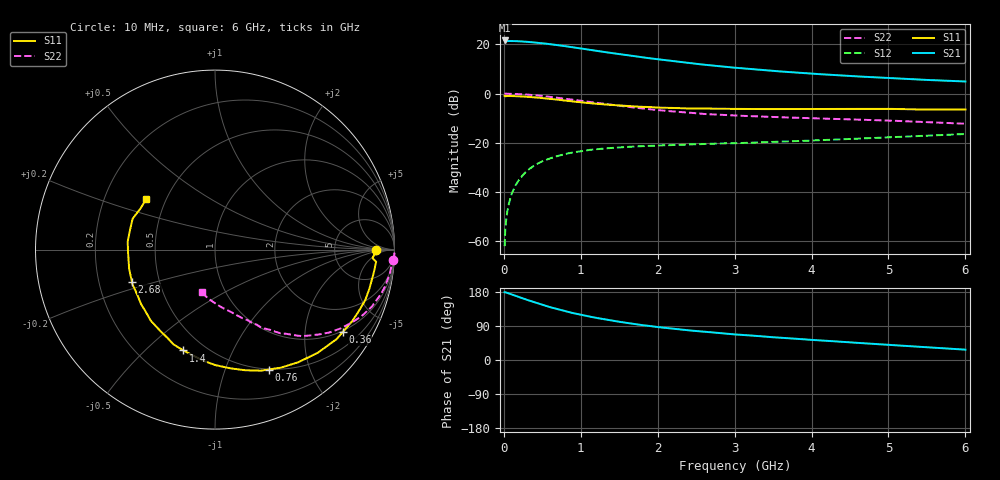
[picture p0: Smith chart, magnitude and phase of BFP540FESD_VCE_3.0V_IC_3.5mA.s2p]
! Infineon Technologies  Discrete & RF Semiconductors
! BFP540FESD
! VCE =  3.0 V,  IC =  3.5 mA
! Common Emitter S-Parameters:  Nov 2015
# GHz  S  MA  R  50
!  f  S11  S21  S12  S22
! GHz  MAG  ANG  MAG  ANG  MAG  ANG  MAG  ANG
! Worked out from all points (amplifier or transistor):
!   210 points, 10 MHz to 6 GHz, reference 50 ohm
!   highest |S21| = 21.6 dB at 10 MHz (marker M1)
!   |S21| within 3 dB of that: start of sweep to 945.1 MHz
!   unconditionally stable (mu >= 1): 3.003 GHz to end of sweep
!   at 185 MHz: K = 0.06, MSG = 28.4 dB, |S12| = -35.6 dB
!   at 1.52 GHz: K = 0.50, MSG = 18.9 dB, |S12| = -21.8 dB
!   at 6 GHz: K = 1.39, MAG = 6.9 dB, |S12| = -16.4 dB
!   S11 on the Smith chart (normalised r, x): 10 MHz: 19, -0; 360 MHz: 0.96, -3.12; 760 MHz: 0.50, -1.43; 1.4 GHz: 0.38, -0.66; 2.68 GHz: 0.35, -0.16; 6 GHz: 0.39, +0.29
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0.01  0.8989 -0.1  11.98 178.9  0.0008 97.2  0.995 -3.3
0.02  0.8789 -3.1  11.52 178.7  0.0019 104.7  1 -1.2
0.05  0.9004 -4.3  11.68 176.6  0.0044 91.1  0.991 -2.6
0.105  0.8922 -9.3  11.63 172.8  0.0095 84.3  0.9872 -5.4
0.15  0.8873 -14.3  11.65 169.7  0.0136 83.6  0.9831 -7.7
0.24  0.8739 -22.1  11.41 163.1  0.0216 78.9  0.9687 -12.3
0.36  0.847 -32.9  11.04 154.8  0.0318 72.4  0.9393 -18.1
0.52  0.8039 -46.7  10.46 144.5  0.0434 65.8  0.8887 -25.3
0.6  0.7806 -53.5  10.07 139.5  0.0483 62.8  0.8598 -28.5
0.76  0.7325 -65.8  9.341 131.0  0.0573 57.1  0.8015 -34.4
0.9  0.6923 -76.1  8.69 123.7  0.0641 52.3  0.75 -39.0
1.02  0.6615 -84.1  8.153 118.7  0.0682 49.3  0.7091 -42.5
1.2  0.6221 -96.3  7.381 111.2  0.0744 45.4  0.6505 -47.2
1.4  0.589 -107.4  6.664 104.2  0.0788 41.7  0.5926 -51.9
1.72  0.545 -124.4  5.676 94.3  0.0844 37.9  0.5153 -58.2
2.02  0.5188 -137.6  4.937 86.5  0.0884 35.1  0.4598 -63.0
2.4  0.4996 -151.1  4.174 78.3  0.0925 33.1  0.4118 -68.2
2.68  0.4959 -158.9  3.755 73.4  0.0956 32.5  0.3802 -72.3
3.1  0.4882 -169.2  3.258 66.2  0.0995 31.9  0.3539 -76.6
4.1  0.4873 173.0  2.484 51.9  0.1131 31.9  0.3126 -86.2
5.1  0.4861 157.8  2.036 38.7  0.1317 30.4  0.2797 -96.0
6  0.4756 143.4  1.76 27.3  0.1512 28.1  0.2445 -106.6
